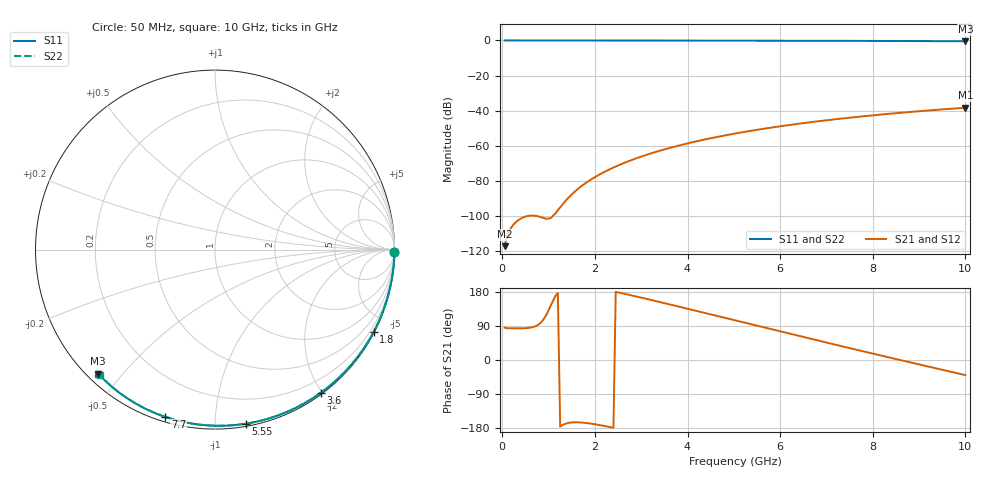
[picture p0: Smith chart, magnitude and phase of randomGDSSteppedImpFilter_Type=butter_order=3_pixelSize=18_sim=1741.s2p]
! freq	dB(S11)	phase(S11)	dB(S12)	phase(S12)
!  dB(S21)	phase(S21)	dB(S22)	phase(S22)
!S-par simulation data
#  GHz  S  DB  R 50
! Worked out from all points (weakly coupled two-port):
!   200 points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, 50 MHz to 10 GHz, reference 50 ohm
!   highest |S21| = -38.29 dB at 10 GHz (marker M1); lowest = -117.1 dB at 50 MHz (marker M2)
!   lowest |S11| = -0.4 dB at 10 GHz (marker M3), VSWR 38.78, Z = 1.53 - j21.5 ohm
!   |S11| at or under -10 dB: nowhere
!   |S22| runs from -0.4 to 0.0 dB; largest |S21 - S12| = 0
!   S11 on the Smith chart (normalised r, x): 50 MHz: open; 1.8 GHz: 0.04, -4.11; 3.6 GHz: 0.02, -1.98; 5.55 GHz: 0.02, -1.19; 7.7 GHz: 0.02, -0.75; 10 GHz: 0.03, -0.43
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0.05  -0.00 -0.8  -117.13 85.4  -117.13 85.4  -0.00 -0.8
0.45  -0.01 -6.9  -100.77 83.6  -100.77 83.6  -0.01 -6.9
0.9  -0.02 -13.8  -101.20 108.9  -101.20 108.9  -0.02 -13.7
1.75  -0.03 -26.6  -82.14 -165.4  -82.14 -165.4  -0.03 -26.4
1.8  -0.03 -27.4  -81.20 -166.1  -81.20 -166.1  -0.03 -27.2
1.85  -0.04 -28.1  -80.30 -166.8  -80.30 -166.8  -0.04 -27.9
1.9  -0.04 -28.9  -79.44 -167.6  -79.44 -167.6  -0.04 -28.7
2.05  -0.04 -31.1  -77.06 -170.6  -77.06 -170.6  -0.04 -30.9
2.25  -0.04 -34.0  -74.25 -175.2  -74.25 -175.2  -0.04 -33.8
2.65  -0.05 -39.9  -69.54 174.4  -69.54 174.4  -0.05 -39.6
3  -0.06 -45.0  -66.13 164.6  -66.13 164.6  -0.06 -44.7
3.4  -0.07 -50.7  -62.79 153.0  -62.79 153.0  -0.07 -50.3
3.6  -0.07 -53.5  -61.30 147.1  -61.30 147.1  -0.07 -53.1
4.3  -0.09 -63.2  -56.80 126.3  -56.80 126.3  -0.09 -62.8
5.05  -0.11 -73.3  -52.88 103.8  -52.88 103.8  -0.11 -72.8
5.55  -0.13 -79.9  -50.66 88.8  -50.66 88.8  -0.13 -79.3
6.1  -0.15 -86.9  -48.49 72.5  -48.49 72.5  -0.15 -86.3
6.7  -0.18 -94.4  -46.40 54.7  -46.40 54.7  -0.18 -93.8
7.7  -0.24 -106.6  -43.43 25.5  -43.43 25.5  -0.24 -105.9
8.35  -0.29 -114.3  -41.77 6.8  -41.77 6.8  -0.29 -113.5
9.15  -0.36 -123.6  -39.97 -16.0  -39.97 -16.0  -0.36 -122.7
10  -0.45 -133.4  -38.29 -39.9  -38.29 -39.9  -0.45 -132.4
